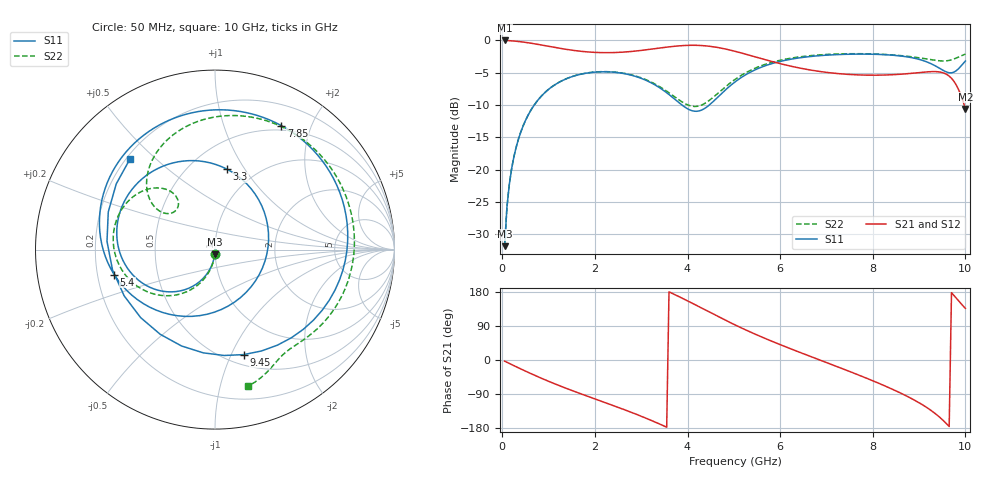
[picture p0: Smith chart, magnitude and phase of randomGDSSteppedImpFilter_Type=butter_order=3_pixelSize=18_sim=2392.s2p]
! freq	dB(S11)	phase(S11)	dB(S12)	phase(S12)
!  dB(S21)	phase(S21)	dB(S22)	phase(S22)
!S-par simulation data
#  GHz  S  DB  R 50
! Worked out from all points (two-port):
!   200 points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, 50 MHz to 10 GHz, reference 50 ohm
!   highest |S21| = -0.01 dB at 50 MHz (marker M1); lowest = -10.6 dB at 10 GHz (marker M2)
!   |S21| within 3 dB of the highest: start of sweep to 5.69 GHz
!   lowest |S11| = -31.8 dB at 50 MHz (marker M3), VSWR 1.05, Z = 49.8 - j2.55 ohm
!   |S11| at or under -10 dB: start of sweep to 689.2 MHz; 3.882 GHz to 4.468 GHz (585.1 MHz wide, 14 % of centre)
!   |S22| runs from -31.8 to -2.1 dB; largest |S21 - S12| = 0
!   S11 on the Smith chart (normalised r, x): 50 MHz: 1.00, -0.05; 3.3 GHz: 0.74, +0.84; 5.4 GHz: 0.27, -0.11; 7.85 GHz: 0.44, +1.58; 9.45 GHz: 0.60, -1.12; 10 GHz: 0.21, +0.42
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0.05  -31.82 -93.3  -0.01 -3.0  -0.01 -3.0  -31.82 -93.0
0.2  -19.90 -103.1  -0.06 -12.0  -0.06 -12.0  -19.90 -101.9
0.5  -12.39 -121.4  -0.30 -29.3  -0.30 -29.3  -12.39 -118.5
1.05  -7.28 -152.5  -0.98 -58.7  -0.98 -58.7  -7.28 -146.0
1.75  -5.14 171.6  -1.72 -91.7  -1.72 -91.7  -5.13 -175.9
2.65  -5.16 124.7  -1.79 -131.8  -1.79 -131.8  -5.12 151.2
3.3  -6.89 81.3  -1.27 -163.7  -1.27 -163.7  -6.75 131.7
3.4  -7.33 73.0  -1.17 -169.1  -1.17 -169.1  -7.16 129.6
4.15  -10.95 -21.0  -0.75 146.8  -0.75 146.8  -10.21 134.8
4.6  -9.14 -90.7  -1.03 118.4  -1.03 118.4  -8.51 145.2
5.05  -6.28 -138.6  -1.73 91.2  -1.73 91.2  -5.91 138.5
5.4  -4.75 -166.1  -2.42 71.5  -2.42 71.5  -4.48 127.1
6  -3.25 156.3  -3.59 40.5  -3.59 40.5  -3.07 103.7
6.7  -2.45 119.5  -4.63 7.2  -4.63 7.2  -2.32 74.8
7.3  -2.17 89.8  -5.16 -20.8  -5.16 -20.8  -2.08 48.9
7.85  -2.12 61.9  -5.37 -47.3  -5.37 -47.3  -2.06 24.1
8.35  -2.25 34.0  -5.33 -73.1  -5.33 -73.1  -2.20 0.5
9  -2.93 -13.8  -4.98 -112.8  -4.98 -112.8  -2.69 -31.0
9.45  -4.34 -74.7  -4.89 -151.6  -4.89 -151.6  -3.16 -51.0
9.65  -5.00 -122.9  -5.52 -175.5  -5.52 -175.5  -3.09 -58.4
9.8  -4.70 -168.8  -6.86 163.6  -6.86 163.6  -2.74 -64.8
10  -3.19 133.1  -10.60 136.3  -10.60 136.3  -2.12 -76.6
